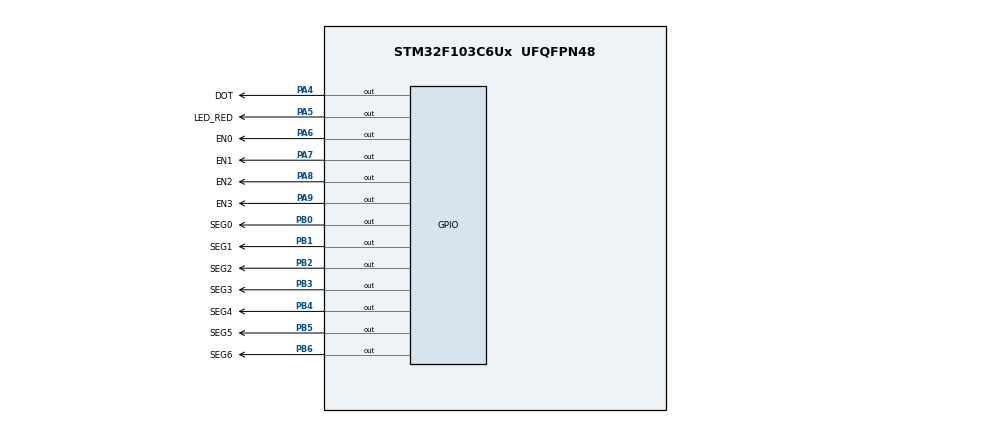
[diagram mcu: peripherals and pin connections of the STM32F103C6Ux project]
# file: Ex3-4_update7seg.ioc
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Mcu.Family=STM32F1
Mcu.Name=STM32F103C6Ux
Mcu.Package=UFQFPN48
NVIC.PriorityGroup=NVIC_PRIORITYGROUP_4
NVIC.TIM2_IRQn=true\:0\:0\:false\:false\:true\:true\:true
PA4.GPIO_Label=DOT
PA4.Signal=GPIO_Output
PA5.GPIO_Label=LED_RED
PA5.Signal=GPIO_Output
PA6.GPIO_Label=EN0
PA6.Signal=GPIO_Output
PA7.GPIO_Label=EN1
PA7.Signal=GPIO_Output
PA8.GPIO_Label=EN2
PA8.Signal=GPIO_Output
PA9.GPIO_Label=EN3
PA9.Signal=GPIO_Output
PB0.GPIO_Label=SEG0
PB0.Signal=GPIO_Output
PB1.GPIO_Label=SEG1
PB1.Signal=GPIO_Output
PB2.GPIO_Label=SEG2
PB2.Signal=GPIO_Output
PB3.GPIO_Label=SEG3
PB3.Signal=GPIO_Output
PB4.GPIO_Label=SEG4
PB4.Signal=GPIO_Output
PB5.GPIO_Label=SEG5
PB5.Signal=GPIO_Output
PB6.GPIO_Label=SEG6
PB6.Signal=GPIO_Output
ProjectManager.HeapSize=0x200
ProjectManager.StackSize=0x400
ProjectManager.TargetToolchain=STM32CubeIDE
RCC.APB1Freq_Value=8000000
RCC.APB2Freq_Value=8000000
TIM2.Period=9
TIM2.Prescaler=7999
VP_SYS_VS_ND.Mode=No_Debug
VP_TIM2_VS_ClockSourceINT.Mode=Internal
board=custom

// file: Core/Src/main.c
/* USER CODE BEGIN Header */
/**
  ******************************************************************************
  * @file           : main.c
  * @brief          : Main program body
  ******************************************************************************
  * @attention
  *
  * <h2><center>&copy; Copyright (c) 2026 STMicroelectronics.
  * All rights reserved.</center></h2>
  *
  * This software component is licensed by ST under BSD 3-Clause license,
  * the "License"; You may not use this file except in compliance with the
  * License. You may obtain a copy of the License at:
  *                        opensource.org/licenses/BSD-3-Clause
  *
  ******************************************************************************
  */
/* USER CODE END Header */
#include "main.h"

/* USER CODE BEGIN Includes */
#include "software_timer.h"
/* USER CODE END Includes */

TIM_HandleTypeDef htim2;

/* USER CODE BEGIN PV */
const int MAX_LED = 4;
int index_led = 0;
int led_buffer[4] = {1, 2, 3, 4}; // buffer hien thi
/* USER CODE END PV */

void SystemClock_Config(void);
static void MX_GPIO_Init(void);
static void MX_TIM2_Init(void);

/* USER CODE BEGIN 0 */
void display7SEG(int num) {
    // Mảng mã hóa cho LED 7 đoạn Anode chung (g f e d c b a)
    // 0: BẬT (RESET), 1: TẮT (SET)
    const uint8_t segment_patterns[10] = {
        0x3F, // 0: 0111111 -> sáng a,b,c,d,e,f
        0x06, // 1: 0000110 -> sáng b,c
        0x5B, // 2: 1011011 -> sáng a,b,d,e,g
        0x4F, // 3: 1001111 -> sáng a,b,c,d,g
        0x66, // 4: 1100110 -> sáng b,c,f,g
        0x6D, // 5: 1101101 -> sáng a,c,d,f,g
        0x7D, // 6: 1111101 -> sáng a,c,d,e,f,g
        0x07, // 7: 0000111 -> sáng a,b,c
        0x7F, // 8: 1111111 -> sáng a,b,c,d,e,f,g
        0x6F  // 9: 1101111 -> sáng a,b,c,d,f,g
    };

    if (num < 0 || num > 9) return;

    uint8_t pattern = segment_patterns[num];

    // Ghi trạng thái ra từng chân từ PB0 (a) đến PB6 (g)
    // Anode chung: Bit = 1 thì xuất mức 0 (RESET) để đèn sáng
    HAL_GPIO_WritePin(GPIOB, GPIO_PIN_0, (pattern & (1 << 0)) ? GPIO_PIN_RESET : GPIO_PIN_SET);
    HAL_GPIO_WritePin(GPIOB, GPIO_PIN_1, (pattern & (1 << 1)) ? GPIO_PIN_RESET : GPIO_PIN_SET);
    HAL_GPIO_WritePin(GPIOB, GPIO_PIN_2, (pattern & (1 << 2)) ? GPIO_PIN_RESET : GPIO_PIN_SET);
    HAL_GPIO_WritePin(GPIOB, GPIO_PIN_3, (pattern & (1 << 3)) ? GPIO_PIN_RESET : GPIO_PIN_SET);
    HAL_GPIO_WritePin(GPIOB, GPIO_PIN_4, (pattern & (1 << 4)) ? GPIO_PIN_RESET : GPIO_PIN_SET);
    HAL_GPIO_WritePin(GPIOB, GPIO_PIN_5, (pattern & (1 << 5)) ? GPIO_PIN_RESET : GPIO_PIN_SET);
    HAL_GPIO_WritePin(GPIOB, GPIO_PIN_6, (pattern & (1 << 6)) ? GPIO_PIN_RESET : GPIO_PIN_SET);
}

void update7SEG(int index) {
    switch (index) {
        case 0:
            // Tat cac LED 1, 2, 3 (PNP ngat o muc 1)
            HAL_GPIO_WritePin(EN1_GPIO_Port, EN1_Pin, GPIO_PIN_SET);
            HAL_GPIO_WritePin(EN2_GPIO_Port, EN2_Pin, GPIO_PIN_SET);
            HAL_GPIO_WritePin(EN3_GPIO_Port, EN3_Pin, GPIO_PIN_SET);
            // Xuat du lieu cua led_buffer[0] ra SEG0..SEG6
            display7SEG(led_buffer[0]);
            // Mo LED 0 (PNP dan o muc 0)
            HAL_GPIO_WritePin(EN0_GPIO_Port, EN0_Pin, GPIO_PIN_RESET);
            break;
        case 1:
            HAL_GPIO_WritePin(EN0_GPIO_Port, EN0_Pin, GPIO_PIN_SET);
            HAL_GPIO_WritePin(EN2_GPIO_Port, EN2_Pin, GPIO_PIN_SET);
            HAL_GPIO_WritePin(EN3_GPIO_Port, EN3_Pin, GPIO_PIN_SET);
            display7SEG(led_buffer[1]);
            HAL_GPIO_WritePin(EN1_GPIO_Port, EN1_Pin, GPIO_PIN_RESET);
            break;
        case 2:
            HAL_GPIO_WritePin(EN0_GPIO_Port, EN0_Pin, GPIO_PIN_SET);
            HAL_GPIO_WritePin(EN1_GPIO_Port, EN1_Pin, GPIO_PIN_SET);
            HAL_GPIO_WritePin(EN3_GPIO_Port, EN3_Pin, GPIO_PIN_SET);
            display7SEG(led_buffer[2]);
            HAL_GPIO_WritePin(EN2_GPIO_Port, EN2_Pin, GPIO_PIN_RESET);
            break;
        case 3:
            HAL_GPIO_WritePin(EN0_GPIO_Port, EN0_Pin, GPIO_PIN_SET);
            HAL_GPIO_WritePin(EN1_GPIO_Port, EN1_Pin, GPIO_PIN_SET);
            HAL_GPIO_WritePin(EN2_GPIO_Port, EN2_Pin, GPIO_PIN_SET);
            display7SEG(led_buffer[3]);
            HAL_GPIO_WritePin(EN3_GPIO_Port, EN3_Pin, GPIO_PIN_RESET);
            break;
        default:
            break;
    }
}
/* USER CODE END 0 */

int main(void)
{

  /* MCU Configuration--------------------------------------------------------*/

  /* Reset of all peripherals, Initializes the Flash interface and the Systick. */
  HAL_Init();

  /* Configure the system clock */
  SystemClock_Config();

  /* Initialize all configured peripherals */
  MX_GPIO_Init();
  MX_TIM2_Init();
  /* USER CODE BEGIN 2 */
  HAL_TIM_Base_Start_IT(&htim2);

  // Khóa tất cả các Transistor PNP lúc khởi động (SET là tắt nguồn LED)
  HAL_GPIO_WritePin(EN0_GPIO_Port, EN0_Pin, GPIO_PIN_SET);
  HAL_GPIO_WritePin(EN1_GPIO_Port, EN1_Pin, GPIO_PIN_SET);
  HAL_GPIO_WritePin(EN2_GPIO_Port, EN2_Pin, GPIO_PIN_SET);
  HAL_GPIO_WritePin(EN3_GPIO_Port, EN3_Pin, GPIO_PIN_SET);
  /* USER CODE END 2 */

  /* Infinite loop */
  /* USER CODE BEGIN WHILE */
  while (1)
  {
	// Toan bo xu ly nam trong ngat timer
    /* USER CODE END WHILE */

  }
}

void SystemClock_Config(void)
{
  RCC_OscInitTypeDef RCC_OscInitStruct = {0};
  RCC_ClkInitTypeDef RCC_ClkInitStruct = {0};

  /** Initializes the RCC Oscillators according to the specified parameters
  * in the RCC_OscInitTypeDef structure.
  */
  RCC_OscInitStruct.OscillatorType = RCC_OSCILLATORTYPE_HSI;
  RCC_OscInitStruct.HSIState = RCC_HSI_ON;
  RCC_OscInitStruct.HSICalibrationValue = RCC_HSICALIBRATION_DEFAULT;
  RCC_OscInitStruct.PLL.PLLState = RCC_PLL_NONE;
  if (HAL_RCC_OscConfig(&RCC_OscInitStruct) != HAL_OK)
  {
    Error_Handler();
  }
  /** Initializes the CPU, AHB and APB buses clocks
  */
  RCC_ClkInitStruct.ClockType = RCC_CLOCKTYPE_HCLK|RCC_CLOCKTYPE_SYSCLK
                              |RCC_CLOCKTYPE_PCLK1|RCC_CLOCKTYPE_PCLK2;
  RCC_ClkInitStruct.SYSCLKSource = RCC_SYSCLKSOURCE_HSI;
  RCC_ClkInitStruct.AHBCLKDivider = RCC_SYSCLK_DIV1;
  RCC_ClkInitStruct.APB1CLKDivider = RCC_HCLK_DIV1;
  RCC_ClkInitStruct.APB2CLKDivider = RCC_HCLK_DIV1;

  if (HAL_RCC_ClockConfig(&RCC_ClkInitStruct, FLASH_LATENCY_0) != HAL_OK)
  {
    Error_Handler();
  }
}

static void MX_TIM2_Init(void)
{

  TIM_ClockConfigTypeDef sClockSourceConfig = {0};
  TIM_MasterConfigTypeDef sMasterConfig = {0};

  htim2.Instance = TIM2;
  htim2.Init.Prescaler = 7999;
  htim2.Init.CounterMode = TIM_COUNTERMODE_UP;
  htim2.Init.Period = 9;
  htim2.Init.ClockDivision = TIM_CLOCKDIVISION_DIV1;
  htim2.Init.AutoReloadPreload = TIM_AUTORELOAD_PRELOAD_DISABLE;
  if (HAL_TIM_Base_Init(&htim2) != HAL_OK)
  {
    Error_Handler();
  }
  sClockSourceConfig.ClockSource = TIM_CLOCKSOURCE_INTERNAL;
  if (HAL_TIM_ConfigClockSource(&htim2, &sClockSourceConfig) != HAL_OK)
  {
    Error_Handler();
  }
  sMasterConfig.MasterOutputTrigger = TIM_TRGO_RESET;
  sMasterConfig.MasterSlaveMode = TIM_MASTERSLAVEMODE_DISABLE;
  if (HAL_TIMEx_MasterConfigSynchronization(&htim2, &sMasterConfig) != HAL_OK)
  {
    Error_Handler();
  }

}

static void MX_GPIO_Init(void)
{
  GPIO_InitTypeDef GPIO_InitStruct = {0};

  /* GPIO Ports Clock Enable */
  __HAL_RCC_GPIOA_CLK_ENABLE();
  __HAL_RCC_GPIOB_CLK_ENABLE();

  /*Configure GPIO pin Output Level */
  HAL_GPIO_WritePin(GPIOA, DOT_Pin|LED_RED_Pin|EN0_Pin|EN1_Pin
                          |EN2_Pin|EN3_Pin, GPIO_PIN_RESET);

  /*Configure GPIO pin Output Level */
  HAL_GPIO_WritePin(GPIOB, SEG0_Pin|SEG1_Pin|SEG2_Pin|SEG3_Pin
                          |SEG4_Pin|SEG5_Pin|SEG6_Pin, GPIO_PIN_RESET);

  /*Configure GPIO pins : DOT_Pin LED_RED_Pin EN0_Pin EN1_Pin
                           EN2_Pin EN3_Pin */
  GPIO_InitStruct.Pin = DOT_Pin|LED_RED_Pin|EN0_Pin|EN1_Pin
                          |EN2_Pin|EN3_Pin;
  GPIO_InitStruct.Mode = GPIO_MODE_OUTPUT_PP;
  GPIO_InitStruct.Pull = GPIO_NOPULL;
  GPIO_InitStruct.Speed = GPIO_SPEED_FREQ_LOW;
  HAL_GPIO_Init(GPIOA, &GPIO_InitStruct);

  /*Configure GPIO pins : SEG0_Pin SEG1_Pin SEG2_Pin SEG3_Pin
                           SEG4_Pin SEG5_Pin SEG6_Pin */
  GPIO_InitStruct.Pin = SEG0_Pin|SEG1_Pin|SEG2_Pin|SEG3_Pin
                          |SEG4_Pin|SEG5_Pin|SEG6_Pin;
  GPIO_InitStruct.Mode = GPIO_MODE_OUTPUT_PP;
  GPIO_InitStruct.Pull = GPIO_NOPULL;
  GPIO_InitStruct.Speed = GPIO_SPEED_FREQ_LOW;
  HAL_GPIO_Init(GPIOB, &GPIO_InitStruct);

}

/* USER CODE BEGIN 4 */
int seg_counter = 25;      // 25 x 10ms = 250ms: chuyen LED 7 doan (4 LED -> 1Hz)
int dot_counter = 100;     // 100 x 10ms = 1s: nhay DOT
int led7seg_state = 0;     // LED 7 doan dang sang (0..3)
void HAL_TIM_PeriodElapsedCallback(TIM_HandleTypeDef *htim) {
    if (htim->Instance == TIM2) {
        // Nhay DOT moi 1 giay
        dot_counter--;
        if (dot_counter <= 0) {
            dot_counter = 100;
            HAL_GPIO_TogglePin(DOT_GPIO_Port, DOT_Pin);
            HAL_GPIO_TogglePin(LED_RED_GPIO_Port, LED_RED_Pin);
        }

        // Chuyen LED 7 doan moi 250ms
        seg_counter--;
        if (seg_counter <= 0) {
            seg_counter = 25;
            update7SEG(index_led++);
            // Giu index_led trong khoang 0..3
            if (index_led >= MAX_LED) {
                index_led = 0;
            }
        }
    }
}

/* USER CODE END 4 */

void Error_Handler(void)
{
  __disable_irq();
  while (1)
  {
  }
}

/************************ (C) COPYRIGHT STMicroelectronics *****END OF FILE****/
